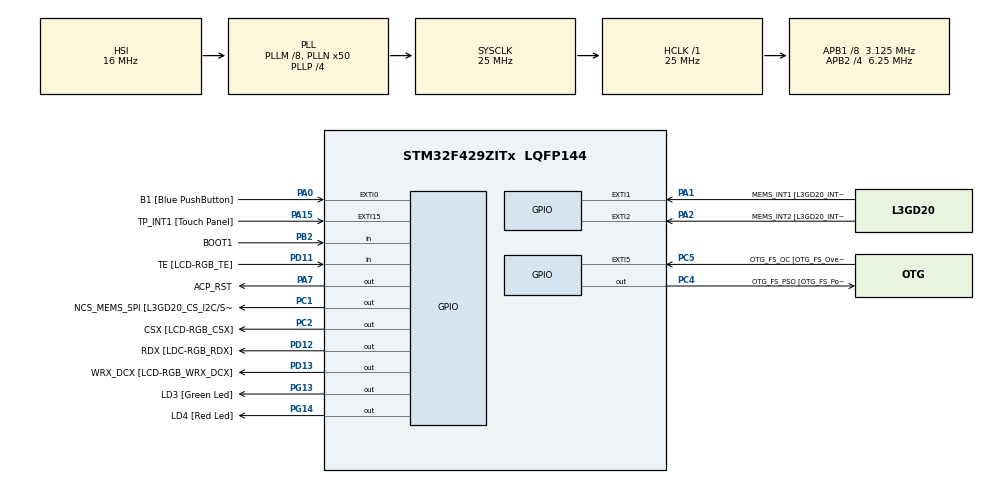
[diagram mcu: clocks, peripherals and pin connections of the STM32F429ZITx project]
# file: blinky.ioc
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Mcu.Family=STM32F4
Mcu.Name=STM32F429ZITx
Mcu.Package=LQFP144
NVIC.EXTI0_IRQn=true\:0\:0\:false\:true\:true\:1\:true\:true\:true
NVIC.PriorityGroup=NVIC_PRIORITYGROUP_0
PA0/WKUP.GPIO_Label=B1 [Blue PushButton]
PA0/WKUP.GPIO_ModeDefaultEXTI=GPIO_MODE_IT_FALLING
PA0/WKUP.GPIO_PuPd=GPIO_NOPULL
PA0/WKUP.Signal=GPXTI0
PA1.GPIO_Label=MEMS_INT1 [L3GD20_INT1]
PA1.GPIO_ModeDefaultEXTI=GPIO_MODE_EVT_RISING
PA1.GPIO_PuPd=GPIO_NOPULL
PA1.Signal=GPXTI1
PA10.GPIO_Label=STLINK_TX [STM32F103CBT6_PA2]
PA10.Signal=USART1_RX
PA11.GPIO_Label=R4
PA11.GPIO_Mode=GPIO_MODE_AF_PP
PA11.GPIO_PuPd=GPIO_NOPULL
PA11.GPIO_Speed=GPIO_SPEED_FREQ_LOW
PA11.Signal=LTDC_R4
PA12.GPIO_Label=R5
PA12.GPIO_Mode=GPIO_MODE_AF_PP
PA12.GPIO_PuPd=GPIO_NOPULL
PA12.GPIO_Speed=GPIO_SPEED_FREQ_LOW
PA12.Signal=LTDC_R5
PA13.GPIO_Label=SWDIO
PA13.Signal=SYS_JTMS-SWDIO
PA14.GPIO_Label=SWCLK
PA14.Signal=SYS_JTCK-SWCLK
PA15.GPIO_Label=TP_INT1 [Touch Panel]
PA15.GPIO_ModeDefaultEXTI=GPIO_MODE_EVT_RISING
PA15.GPIO_PuPd=GPIO_NOPULL
PA15.Signal=GPXTI15
PA2.GPIO_Label=MEMS_INT2 [L3GD20_INT2]
PA2.GPIO_ModeDefaultEXTI=GPIO_MODE_EVT_RISING
PA2.GPIO_PuPd=GPIO_NOPULL
PA2.Signal=GPXTI2
PA3.GPIO_Label=B5
PA3.GPIO_Mode=GPIO_MODE_AF_PP
PA3.GPIO_PuPd=GPIO_NOPULL
PA3.GPIO_Speed=GPIO_SPEED_FREQ_LOW
PA3.Signal=LTDC_B5
PA4.GPIO_Label=VSYNC
PA4.GPIO_Mode=GPIO_MODE_AF_PP
PA4.GPIO_PuPd=GPIO_NOPULL
PA4.GPIO_Speed=GPIO_SPEED_FREQ_LOW
PA4.Signal=LTDC_VSYNC
PA6.GPIO_Label=G2
PA6.GPIO_Mode=GPIO_MODE_AF_PP
PA6.GPIO_PuPd=GPIO_NOPULL
PA6.GPIO_Speed=GPIO_SPEED_FREQ_LOW
PA6.Signal=LTDC_G2
PA7.GPIO_Label=ACP_RST
PA7.GPIO_Mode=GPIO_MODE_OUTPUT_PP
PA7.GPIO_PuPd=GPIO_NOPULL
PA7.GPIO_Speed=GPIO_SPEED_FREQ_LOW
PA7.Signal=GPIO_Output
PA8.GPIO_Label=I2C3_SCL [ACP/RF_SCL]
PA8.GPIO_Mode=GPIO_MODE_AF_OD
PA8.GPIO_PuPd=GPIO_NOPULL
PA8.GPIO_Speed=GPIO_SPEED_FREQ_LOW
PA8.Signal=I2C3_SCL
PA9.GPIO_Label=STLINK_RX [STM32F103CBT6_PA3]
PA9.Signal=USART1_TX
PB0.GPIO_Label=R3
PB0.GPIO_Mode=GPIO_MODE_AF_PP
PB0.GPIO_PuPd=GPIO_NOPULL
PB0.GPIO_Speed=GPIO_SPEED_FREQ_LOW
PB0.Signal=LTDC_R3
PB1.GPIO_Label=R6
PB1.GPIO_Mode=GPIO_MODE_AF_PP
PB1.GPIO_PuPd=GPIO_NOPULL
PB1.GPIO_Speed=GPIO_SPEED_FREQ_LOW
PB1.Signal=LTDC_R6
PB10.GPIO_Label=G4
PB10.GPIO_Mode=GPIO_MODE_AF_PP
PB10.GPIO_PuPd=GPIO_NOPULL
PB10.GPIO_Speed=GPIO_SPEED_FREQ_LOW
PB10.Signal=LTDC_G4
PB11.GPIO_Label=G5
PB11.GPIO_Mode=GPIO_MODE_AF_PP
PB11.GPIO_PuPd=GPIO_NOPULL
PB11.GPIO_Speed=GPIO_SPEED_FREQ_LOW
PB11.Signal=LTDC_G5
PB12.GPIO_Label=OTG_HS_ID
PB12.GPIO_Mode=GPIO_MODE_AF_PP
PB12.GPIO_PuPd=GPIO_NOPULL
PB12.GPIO_Speed=GPIO_SPEED_FREQ_LOW
PB12.Signal=USB_OTG_HS_ID
PB13.GPIO_Label=VBUS_HS
PB13.GPIO_Mode=GPIO_MODE_INPUT
PB13.GPIO_PuPd=GPIO_NOPULL
PB13.Signal=USB_OTG_HS_VBUS
PB14.GPIO_Label=OTG_HS_DM
PB14.GPIO_Mode=GPIO_MODE_AF_PP
PB14.GPIO_PuPd=GPIO_NOPULL
PB14.GPIO_Speed=GPIO_SPEED_FREQ_LOW
PB14.Signal=USB_OTG_HS_DM
PB15.GPIO_Label=OTG_HS_DP
PB15.GPIO_Mode=GPIO_MODE_AF_PP
PB15.GPIO_PuPd=GPIO_NOPULL
PB15.GPIO_Speed=GPIO_SPEED_FREQ_LOW
PB15.Signal=USB_OTG_HS_DP
PB2/BOOT1.GPIO_Label=BOOT1
PB2/BOOT1.GPIO_Mode=GPIO_MODE_INPUT
PB2/BOOT1.GPIO_PuPd=GPIO_NOPULL
PB2/BOOT1.Signal=GPIO_Input
PB5.GPIO_Label=SDCKE1
PB5.GPIO_Mode=GPIO_MODE_AF_PP
PB5.GPIO_PuPd=GPIO_NOPULL
PB5.GPIO_Speed=GPIO_SPEED_FREQ_VERY_HIGH
PB5.Signal=FMC_SDCKE1
PB6.GPIO_Label=SDNE1 [SDRAM_CS]
PB6.GPIO_Mode=GPIO_MODE_AF_PP
PB6.GPIO_PuPd=GPIO_NOPULL
PB6.GPIO_Speed=GPIO_SPEED_FREQ_VERY_HIGH
PB6.Signal=FMC_SDNE1
PB8.GPIO_Label=B6
PB8.GPIO_Mode=GPIO_MODE_AF_PP
PB8.GPIO_PuPd=GPIO_NOPULL
PB8.GPIO_Speed=GPIO_SPEED_FREQ_LOW
PB8.Signal=LTDC_B6
PB9.GPIO_Label=B7
PB9.GPIO_Mode=GPIO_MODE_AF_PP
PB9.GPIO_PuPd=GPIO_NOPULL
PB9.GPIO_Speed=GPIO_SPEED_FREQ_LOW
PB9.Signal=LTDC_B7
PC0.GPIO_Label=SDNWE
PC0.GPIO_Mode=GPIO_MODE_AF_PP
PC0.GPIO_PuPd=GPIO_NOPULL
PC0.GPIO_Speed=GPIO_SPEED_FREQ_VERY_HIGH
PC0.Signal=FMC_SDNWE
PC1.GPIO_Label=NCS_MEMS_SPI [L3GD20_CS_I2C/SPI]
PC1.GPIO_Mode=GPIO_MODE_OUTPUT_PP
PC1.GPIO_PuPd=GPIO_NOPULL
PC1.GPIO_Speed=GPIO_SPEED_FREQ_LOW
PC1.Signal=GPIO_Output
PC10.GPIO_Label=R2
PC10.GPIO_Mode=GPIO_MODE_AF_PP
PC10.GPIO_PuPd=GPIO_NOPULL
PC10.GPIO_Speed=GPIO_SPEED_FREQ_LOW
PC10.Signal=LTDC_R2
PC14/OSC32_IN.GPIO_Label=PC14-OSC32_IN
PC14/OSC32_IN.Signal=RCC_OSC32_IN
PC15/OSC32_OUT.GPIO_Label=PC15-OSC32_OUT
PC15/OSC32_OUT.Signal=RCC_OSC32_OUT
PC2.GPIO_Label=CSX [LCD-RGB_CSX]
PC2.GPIO_Mode=GPIO_MODE_OUTPUT_PP
PC2.GPIO_PuPd=GPIO_NOPULL
PC2.GPIO_Speed=GPIO_SPEED_FREQ_LOW
PC2.Signal=GPIO_Output
PC4.GPIO_Label=OTG_FS_PSO [OTG_FS_PowerSwitchOn]
PC4.GPIO_Mode=GPIO_MODE_OUTPUT_PP
PC4.GPIO_PuPd=GPIO_NOPULL
PC4.GPIO_Speed=GPIO_SPEED_FREQ_LOW
PC4.Signal=GPIO_Output
PC5.GPIO_Label=OTG_FS_OC [OTG_FS_OverCurrent]
PC5.GPIO_ModeDefaultEXTI=GPIO_MODE_EVT_RISING
PC5.Signal=GPXTI5
PC6.GPIO_Label=HSYNC
PC6.GPIO_Mode=GPIO_MODE_AF_PP
PC6.GPIO_PuPd=GPIO_NOPULL
PC6.GPIO_Speed=GPIO_SPEED_FREQ_LOW
PC6.Signal=LTDC_HSYNC
PC7.GPIO_Label=G6
PC7.GPIO_Mode=GPIO_MODE_AF_PP
PC7.GPIO_PuPd=GPIO_NOPULL
PC7.GPIO_Speed=GPIO_SPEED_FREQ_LOW
PC7.Signal=LTDC_G6
PC9.GPIO_Label=I2C3_SDA [ACP/RF_SDA]
PC9.GPIO_Mode=GPIO_MODE_AF_OD
PC9.GPIO_PuPd=GPIO_NOPULL
PC9.GPIO_Speed=GPIO_SPEED_FREQ_LOW
PC9.Signal=I2C3_SDA
PD0.GPIO_Label=D2
PD0.GPIO_Mode=GPIO_MODE_AF_PP
PD0.GPIO_PuPd=GPIO_NOPULL
PD0.GPIO_Speed=GPIO_SPEED_FREQ_VERY_HIGH
PD0.Signal=FMC_D2_DA2
PD1.GPIO_Label=D3
PD1.GPIO_Mode=GPIO_MODE_AF_PP
PD1.GPIO_PuPd=GPIO_NOPULL
PD1.GPIO_Speed=GPIO_SPEED_FREQ_VERY_HIGH
PD1.Signal=FMC_D3_DA3
PD10.GPIO_Label=D15
PD10.GPIO_Mode=GPIO_MODE_AF_PP
PD10.GPIO_PuPd=GPIO_NOPULL
PD10.GPIO_Speed=GPIO_SPEED_FREQ_VERY_HIGH
PD10.Signal=FMC_D15_DA15
PD11.GPIO_Label=TE [LCD-RGB_TE]
PD11.GPIO_Mode=GPIO_MODE_INPUT
PD11.GPIO_PuPd=GPIO_NOPULL
PD11.Signal=GPIO_Input
PD12.GPIO_Label=RDX [LDC-RGB_RDX]
PD12.GPIO_Mode=GPIO_MODE_OUTPUT_PP
PD12.GPIO_PuPd=GPIO_NOPULL
PD12.GPIO_Speed=GPIO_SPEED_FREQ_LOW
PD12.Signal=GPIO_Output
PD13.GPIO_Label=WRX_DCX [LCD-RGB_WRX_DCX]
PD13.GPIO_Mode=GPIO_MODE_OUTPUT_PP
PD13.GPIO_PuPd=GPIO_NOPULL
PD13.GPIO_Speed=GPIO_SPEED_FREQ_LOW
PD13.Signal=GPIO_Output
PD14.GPIO_Label=D0
PD14.GPIO_Mode=GPIO_MODE_AF_PP
PD14.GPIO_PuPd=GPIO_NOPULL
PD14.GPIO_Speed=GPIO_SPEED_FREQ_VERY_HIGH
PD14.Signal=FMC_D0_DA0
PD15.GPIO_Label=D1
PD15.GPIO_Mode=GPIO_MODE_AF_PP
PD15.GPIO_PuPd=GPIO_NOPULL
PD15.GPIO_Speed=GPIO_SPEED_FREQ_VERY_HIGH
PD15.Signal=FMC_D1_DA1
PD3.GPIO_Label=G7
PD3.GPIO_Mode=GPIO_MODE_AF_PP
PD3.GPIO_PuPd=GPIO_NOPULL
PD3.GPIO_Speed=GPIO_SPEED_FREQ_LOW
PD3.Signal=LTDC_G7
PD6.GPIO_Label=B2
PD6.GPIO_Mode=GPIO_MODE_AF_PP
PD6.GPIO_PuPd=GPIO_NOPULL
PD6.GPIO_Speed=GPIO_SPEED_FREQ_LOW
PD6.Signal=LTDC_B2
PD8.GPIO_Label=D13
PD8.GPIO_Mode=GPIO_MODE_AF_PP
PD8.GPIO_PuPd=GPIO_NOPULL
PD8.GPIO_Speed=GPIO_SPEED_FREQ_VERY_HIGH
PD8.Signal=FMC_D13_DA13
PD9.GPIO_Label=D14
PD9.GPIO_Mode=GPIO_MODE_AF_PP
PD9.GPIO_PuPd=GPIO_NOPULL
PD9.GPIO_Speed=GPIO_SPEED_FREQ_VERY_HIGH
PD9.Signal=FMC_D14_DA14
PE0.GPIO_Label=NBL0 [SDRAM_LDQM]
PE0.GPIO_Mode=GPIO_MODE_AF_PP
PE0.GPIO_PuPd=GPIO_NOPULL
PE0.GPIO_Speed=GPIO_SPEED_FREQ_VERY_HIGH
PE0.Signal=FMC_NBL0
PE1.GPIO_Label=NBL1 [SDRAM_UDQM]
PE1.GPIO_Mode=GPIO_MODE_AF_PP
PE1.GPIO_PuPd=GPIO_NOPULL
PE1.GPIO_Speed=GPIO_SPEED_FREQ_VERY_HIGH
PE1.Signal=FMC_NBL1
PE10.GPIO_Label=D7
PE10.GPIO_Mode=GPIO_MODE_AF_PP
PE10.GPIO_PuPd=GPIO_NOPULL
PE10.GPIO_Speed=GPIO_SPEED_FREQ_VERY_HIGH
PE10.Signal=FMC_D7_DA7
PE11.GPIO_Label=D8
PE11.GPIO_Mode=GPIO_MODE_AF_PP
PE11.GPIO_PuPd=GPIO_NOPULL
PE11.GPIO_Speed=GPIO_SPEED_FREQ_VERY_HIGH
PE11.Signal=FMC_D8_DA8
PE12.GPIO_Label=D9
PE12.GPIO_Mode=GPIO_MODE_AF_PP
PE12.GPIO_PuPd=GPIO_NOPULL
PE12.GPIO_Speed=GPIO_SPEED_FREQ_VERY_HIGH
PE12.Signal=FMC_D9_DA9
PE13.GPIO_Label=D10
PE13.GPIO_Mode=GPIO_MODE_AF_PP
PE13.GPIO_PuPd=GPIO_NOPULL
PE13.GPIO_Speed=GPIO_SPEED_FREQ_VERY_HIGH
PE13.Signal=FMC_D10_DA10
PE14.GPIO_Label=D11
PE14.GPIO_Mode=GPIO_MODE_AF_PP
PE14.GPIO_PuPd=GPIO_NOPULL
PE14.GPIO_Speed=GPIO_SPEED_FREQ_VERY_HIGH
PE14.Signal=FMC_D11_DA11
PE15.GPIO_Label=D12
PE15.GPIO_Mode=GPIO_MODE_AF_PP
PE15.GPIO_PuPd=GPIO_NOPULL
PE15.GPIO_Speed=GPIO_SPEED_FREQ_VERY_HIGH
PE15.Signal=FMC_D12_DA12
PE7.GPIO_Label=D4
PE7.GPIO_Mode=GPIO_MODE_AF_PP
PE7.GPIO_PuPd=GPIO_NOPULL
PE7.GPIO_Speed=GPIO_SPEED_FREQ_VERY_HIGH
PE7.Signal=FMC_D4_DA4
PE8.GPIO_Label=D5
PE8.GPIO_Mode=GPIO_MODE_AF_PP
PE8.GPIO_PuPd=GPIO_NOPULL
PE8.GPIO_Speed=GPIO_SPEED_FREQ_VERY_HIGH
PE8.Signal=FMC_D5_DA5
PE9.GPIO_Label=D6
PE9.GPIO_Mode=GPIO_MODE_AF_PP
PE9.GPIO_PuPd=GPIO_NOPULL
PE9.GPIO_Speed=GPIO_SPEED_FREQ_VERY_HIGH
PE9.Signal=FMC_D6_DA6
PF0.GPIO_Label=A0
PF0.GPIO_Mode=GPIO_MODE_AF_PP
PF0.GPIO_PuPd=GPIO_NOPULL
PF0.GPIO_Speed=GPIO_SPEED_FREQ_VERY_HIGH
PF0.Signal=FMC_A0
PF1.GPIO_Label=A1
PF1.GPIO_Mode=GPIO_MODE_AF_PP
PF1.GPIO_PuPd=GPIO_NOPULL
PF1.GPIO_Speed=GPIO_SPEED_FREQ_VERY_HIGH
PF1.Signal=FMC_A1
PF10.GPIO_Label=ENABLE [LCD-RGB_ENABLE]
PF10.GPIO_Mode=GPIO_MODE_AF_PP
PF10.GPIO_PuPd=GPIO_NOPULL
PF10.GPIO_Speed=GPIO_SPEED_FREQ_LOW
PF10.Signal=LTDC_DE
PF11.GPIO_Label=SDNRAS
PF11.GPIO_Mode=GPIO_MODE_AF_PP
PF11.GPIO_PuPd=GPIO_NOPULL
PF11.GPIO_Speed=GPIO_SPEED_FREQ_VERY_HIGH
PF11.Signal=FMC_SDNRAS
PF12.GPIO_Label=A6
PF12.GPIO_Mode=GPIO_MODE_AF_PP
PF12.GPIO_PuPd=GPIO_NOPULL
PF12.GPIO_Speed=GPIO_SPEED_FREQ_VERY_HIGH
PF12.Signal=FMC_A6
PF13.GPIO_Label=A7
PF13.GPIO_Mode=GPIO_MODE_AF_PP
PF13.GPIO_PuPd=GPIO_NOPULL
PF13.GPIO_Speed=GPIO_SPEED_FREQ_VERY_HIGH
PF13.Signal=FMC_A7
PF14.GPIO_Label=A8
PF14.GPIO_Mode=GPIO_MODE_AF_PP
PF14.GPIO_PuPd=GPIO_NOPULL
PF14.GPIO_Speed=GPIO_SPEED_FREQ_VERY_HIGH
PF14.Signal=FMC_A8
PF15.GPIO_Label=A9
PF15.GPIO_Mode=GPIO_MODE_AF_PP
PF15.GPIO_PuPd=GPIO_NOPULL
PF15.GPIO_Speed=GPIO_SPEED_FREQ_VERY_HIGH
PF15.Signal=FMC_A9
PF2.GPIO_Label=A2
PF2.GPIO_Mode=GPIO_MODE_AF_PP
PF2.GPIO_PuPd=GPIO_NOPULL
PF2.GPIO_Speed=GPIO_SPEED_FREQ_VERY_HIGH
PF2.Signal=FMC_A2
PF3.GPIO_Label=A3
PF3.GPIO_Mode=GPIO_MODE_AF_PP
PF3.GPIO_PuPd=GPIO_NOPULL
PF3.GPIO_Speed=GPIO_SPEED_FREQ_VERY_HIGH
PF3.Signal=FMC_A3
PF4.GPIO_Label=A4
PF4.GPIO_Mode=GPIO_MODE_AF_PP
PF4.GPIO_PuPd=GPIO_NOPULL
PF4.GPIO_Speed=GPIO_SPEED_FREQ_VERY_HIGH
PF4.Signal=FMC_A4
PF5.GPIO_Label=A5
PF5.GPIO_Mode=GPIO_MODE_AF_PP
PF5.GPIO_PuPd=GPIO_NOPULL
PF5.GPIO_Speed=GPIO_SPEED_FREQ_VERY_HIGH
PF5.Signal=FMC_A5
PF7.GPIO_Label=SPI5_SCK [L3GD20_SCL/SPC]
PF7.GPIO_Mode=GPIO_MODE_AF_PP
PF7.GPIO_PuPd=GPIO_NOPULL
PF7.GPIO_Speed=GPIO_SPEED_FREQ_LOW
PF7.Signal=SPI5_SCK
PF8.GPIO_Label=SPI5_MISO [L3GD20_SDO]
PF8.GPIO_Mode=GPIO_MODE_AF_PP
PF8.GPIO_PuPd=GPIO_NOPULL
PF8.GPIO_Speed=GPIO_SPEED_FREQ_LOW
PF8.Signal=SPI5_MISO
PF9.GPIO_Label=SPI5_MOSI [L3GD20_SDA/SDI/SDO]
PF9.GPIO_Mode=GPIO_MODE_AF_PP
PF9.GPIO_PuPd=GPIO_NOPULL
PF9.GPIO_Speed=GPIO_SPEED_FREQ_LOW
PF9.Signal=SPI5_MOSI
PG0.GPIO_Label=A10
PG0.GPIO_Mode=GPIO_MODE_AF_PP
PG0.GPIO_PuPd=GPIO_NOPULL
PG0.GPIO_Speed=GPIO_SPEED_FREQ_VERY_HIGH
PG0.Signal=FMC_A10
PG1.GPIO_Label=A11
PG1.GPIO_Mode=GPIO_MODE_AF_PP
PG1.GPIO_PuPd=GPIO_NOPULL
PG1.GPIO_Speed=GPIO_SPEED_FREQ_VERY_HIGH
PG1.Signal=FMC_A11
PG10.GPIO_Label=G3
PG10.GPIO_Mode=GPIO_MODE_AF_PP
PG10.GPIO_PuPd=GPIO_NOPULL
PG10.GPIO_Speed=GPIO_SPEED_FREQ_LOW
PG10.Signal=LTDC_G3
PG11.GPIO_Label=B3
PG11.GPIO_Mode=GPIO_MODE_AF_PP
PG11.GPIO_PuPd=GPIO_NOPULL
PG11.GPIO_Speed=GPIO_SPEED_FREQ_LOW
PG11.Signal=LTDC_B3
PG12.GPIO_Label=B4
PG12.GPIO_Mode=GPIO_MODE_AF_PP
PG12.GPIO_PuPd=GPIO_NOPULL
PG12.GPIO_Speed=GPIO_SPEED_FREQ_LOW
PG12.Signal=LTDC_B4
PG13.GPIO_Label=LD3 [Green Led]
PG13.GPIO_Mode=GPIO_MODE_OUTPUT_PP
PG13.GPIO_PuPd=GPIO_NOPULL
PG13.GPIO_Speed=GPIO_SPEED_FREQ_LOW
PG13.Signal=GPIO_Output
PG14.GPIO_Label=LD4 [Red Led]
PG14.GPIO_Mode=GPIO_MODE_OUTPUT_PP
PG14.GPIO_PuPd=GPIO_NOPULL
PG14.GPIO_Speed=GPIO_SPEED_FREQ_LOW
PG14.Signal=GPIO_Output
PG15.GPIO_Label=SDNCAS
PG15.GPIO_Mode=GPIO_MODE_AF_PP
PG15.GPIO_PuPd=GPIO_NOPULL
PG15.GPIO_Speed=GPIO_SPEED_FREQ_VERY_HIGH
PG15.Signal=FMC_SDNCAS
PG4.GPIO_Label=BA0
PG4.GPIO_Mode=GPIO_MODE_AF_PP
PG4.GPIO_PuPd=GPIO_NOPULL
PG4.GPIO_Speed=GPIO_SPEED_FREQ_VERY_HIGH
PG4.Signal=FMC_A14_BA0
PG5.GPIO_Label=BA1
PG5.GPIO_Mode=GPIO_MODE_AF_PP
PG5.GPIO_PuPd=GPIO_NOPULL
PG5.GPIO_Speed=GPIO_SPEED_FREQ_VERY_HIGH
PG5.Signal=FMC_A15_BA1
PG6.GPIO_Label=R7
PG6.GPIO_Mode=GPIO_MODE_AF_PP
PG6.GPIO_PuPd=GPIO_NOPULL
PG6.GPIO_Speed=GPIO_SPEED_FREQ_LOW
PG6.Signal=LTDC_R7
PG7.GPIO_Label=DOTCLK [LCT-RGB_DOTCLK]
PG7.GPIO_Mode=GPIO_MODE_AF_PP
PG7.GPIO_PuPd=GPIO_NOPULL
PG7.GPIO_Speed=GPIO_SPEED_FREQ_LOW
PG7.Signal=LTDC_CLK
PG8.GPIO_Label=SDCLK
PG8.GPIO_Mode=GPIO_MODE_AF_PP
PG8.GPIO_PuPd=GPIO_NOPULL
PG8.GPIO_Speed=GPIO_SPEED_FREQ_VERY_HIGH
PG8.Signal=FMC_SDCLK
PH0/OSC_IN.GPIO_Label=PH0-OSC_IN
PH0/OSC_IN.Signal=RCC_OSC_IN
PH1/OSC_OUT.GPIO_Label=PH1-OSC_OUT
PH1/OSC_OUT.Signal=RCC_OSC_OUT
ProjectManager.HeapSize=0x200
ProjectManager.StackSize=0x400
ProjectManager.TargetToolchain=STM32CubeIDE
RCC.48MHZClocksFreq_Value=14285714.285714285
RCC.AHBFreq_Value=25000000
RCC.APB1CLKDivider=RCC_HCLK_DIV8
RCC.APB1Freq_Value=3125000
RCC.APB1TimFreq_Value=6250000
RCC.APB2CLKDivider=RCC_HCLK_DIV4
RCC.APB2Freq_Value=6250000
RCC.APB2TimFreq_Value=12500000
RCC.CortexFreq_Value=25000000
RCC.HCLKFreq_Value=25000000
RCC.HSE_VALUE=8000000
RCC.HSI_VALUE=16000000
RCC.LSE_VALUE=32768
RCC.PLLM=8
RCC.PLLN=50
RCC.PLLP=RCC_PLLP_DIV4
RCC.PLLQ=7
RCC.SYSCLKFreq_VALUE=25000000
RCC.SYSCLKSource=RCC_SYSCLKSOURCE_PLLCLK
RCC.VCOOutputFreq_Value=100000000
SH.FMC_A0.0=FMC_A0
SH.FMC_A1.0=FMC_A1
SH.FMC_A10.0=FMC_A10
SH.FMC_A11.0=FMC_A11
SH.FMC_A14_BA0.0=FMC_BA0
SH.FMC_A15_BA1.0=FMC_BA1
SH.FMC_A2.0=FMC_A2
SH.FMC_A3.0=FMC_A3
SH.FMC_A4.0=FMC_A4
SH.FMC_A5.0=FMC_A5
SH.FMC_A6.0=FMC_A6
SH.FMC_A7.0=FMC_A7
SH.FMC_A8.0=FMC_A8
SH.FMC_A9.0=FMC_A9
SH.FMC_D0_DA0.0=FMC_D0
SH.FMC_D10_DA10.0=FMC_D10
SH.FMC_D11_DA11.0=FMC_D11
SH.FMC_D12_DA12.0=FMC_D12
SH.FMC_D13_DA13.0=FMC_D13
SH.FMC_D14_DA14.0=FMC_D14
SH.FMC_D15_DA15.0=FMC_D15
SH.FMC_D1_DA1.0=FMC_D1
SH.FMC_D2_DA2.0=FMC_D2
SH.FMC_D3_DA3.0=FMC_D3
SH.FMC_D4_DA4.0=FMC_D4
SH.FMC_D5_DA5.0=FMC_D5
SH.FMC_D6_DA6.0=FMC_D6
SH.FMC_D7_DA7.0=FMC_D7
SH.FMC_D8_DA8.0=FMC_D8
SH.FMC_D9_DA9.0=FMC_D9
SH.FMC_NBL0.0=FMC_NBL0
SH.FMC_NBL1.0=FMC_NBL1
SH.FMC_SDCLK.0=FMC_SDCLK
SH.FMC_SDNCAS.0=FMC_SDNCAS
SH.FMC_SDNRAS.0=FMC_SDNRAS
SH.FMC_SDNWE.0=FMC_SDNWE
board=STM32F429I-DISC1

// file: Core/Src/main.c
/* USER CODE BEGIN Header */
/**
  ******************************************************************************
  * @file           : main.c
  * @brief          : Main program body
  ******************************************************************************
  * @attention
  *
  * Copyright (c) 2022 STMicroelectronics.
  * All rights reserved.
  *
  * This software is licensed under terms that can be found in the LICENSE file
  * in the root directory of this software component.
  * If no LICENSE file comes with this software, it is provided AS-IS.
  *
  ******************************************************************************
  */
/* USER CODE END Header */
#include "main.h"
#include "gpio.h"

/* USER CODE BEGIN Includes */
#include <stdbool.h>
#include "debounce.h"
/* USER CODE END Includes */

/* USER CODE BEGIN PV */
static uint8_t debounceBuffer = 0;
static volatile bool gBlinkyActive = false;
/* USER CODE END PV */

void SystemClock_Config(void);
static void MX_NVIC_Init(void);

int main(void)
{

  /* MCU Configuration--------------------------------------------------------*/

  /* Reset of all peripherals, Initializes the Flash interface and the Systick. */
  HAL_Init();

  /* Configure the system clock */
  SystemClock_Config();

  /* Initialize all configured peripherals */
  MX_GPIO_Init();

  /* Initialize interrupts */
  MX_NVIC_Init();

  /* Infinite loop */
  while (1)
  {

    /* USER CODE BEGIN 3 */
	if (gBlinkyActive) {
		HAL_GPIO_TogglePin(LD3_GPIO_Port, LD3_Pin);
		HAL_Delay(100);
	}

	volatile uint32_t led_value =  ((*(uint32_t *)0x40021814UL) & 0x2000) >> 13;
	volatile uint32_t button_value = ((*(uint32_t *)0x40020010UL) & 0x0001) >> 0;

	// Since I use an interrupt to add button presses to the history, I also need to add zeros
	//
	update_button(&debounceBuffer, 0);
  }
  /* USER CODE END 3 */
}

void SystemClock_Config(void)
{
  RCC_OscInitTypeDef RCC_OscInitStruct = {0};
  RCC_ClkInitTypeDef RCC_ClkInitStruct = {0};

  /** Configure the main internal regulator output voltage
  */
  __HAL_RCC_PWR_CLK_ENABLE();
  __HAL_PWR_VOLTAGESCALING_CONFIG(PWR_REGULATOR_VOLTAGE_SCALE3);

  /** Initializes the RCC Oscillators according to the specified parameters
  * in the RCC_OscInitTypeDef structure.
  */
  RCC_OscInitStruct.OscillatorType = RCC_OSCILLATORTYPE_HSI;
  RCC_OscInitStruct.HSIState = RCC_HSI_ON;
  RCC_OscInitStruct.HSICalibrationValue = RCC_HSICALIBRATION_DEFAULT;
  RCC_OscInitStruct.PLL.PLLState = RCC_PLL_ON;
  RCC_OscInitStruct.PLL.PLLSource = RCC_PLLSOURCE_HSI;
  RCC_OscInitStruct.PLL.PLLM = 8;
  RCC_OscInitStruct.PLL.PLLN = 50;
  RCC_OscInitStruct.PLL.PLLP = RCC_PLLP_DIV4;
  RCC_OscInitStruct.PLL.PLLQ = 7;
  if (HAL_RCC_OscConfig(&RCC_OscInitStruct) != HAL_OK)
  {
    Error_Handler();
  }

  /** Initializes the CPU, AHB and APB buses clocks
  */
  RCC_ClkInitStruct.ClockType = RCC_CLOCKTYPE_HCLK|RCC_CLOCKTYPE_SYSCLK
                              |RCC_CLOCKTYPE_PCLK1|RCC_CLOCKTYPE_PCLK2;
  RCC_ClkInitStruct.SYSCLKSource = RCC_SYSCLKSOURCE_PLLCLK;
  RCC_ClkInitStruct.AHBCLKDivider = RCC_SYSCLK_DIV1;
  RCC_ClkInitStruct.APB1CLKDivider = RCC_HCLK_DIV8;
  RCC_ClkInitStruct.APB2CLKDivider = RCC_HCLK_DIV4;

  if (HAL_RCC_ClockConfig(&RCC_ClkInitStruct, FLASH_LATENCY_0) != HAL_OK)
  {
    Error_Handler();
  }
}

/**
  * @brief NVIC Configuration.
  * @retval None
  */
static void MX_NVIC_Init(void)
{
  /* EXTI0_IRQn interrupt configuration */
  HAL_NVIC_SetPriority(EXTI0_IRQn, 0, 0);
  HAL_NVIC_EnableIRQ(EXTI0_IRQn);
}

/* USER CODE BEGIN 4 */

void HAL_GPIO_EXTI_Callback( uint16_t GPIO_Pin )
{
	if(GPIO_Pin == B1_Pin){

//		GPIO_PinState state = HAL_GPIO_ReadPin(B1_GPIO_Port, B1_Pin);

		// Since I artificially debounce the button, I need to set it to an on state the debounce algorithm "understands"
		// This kind of defeats the purpose but the interrupt is working really well and the button is electronically debounced
		//
		uint8_t state = 0b00000111;

		update_button(&debounceBuffer, state);

		if(is_button_pressed(&debounceBuffer))
		{
			gBlinkyActive = !gBlinkyActive;
		}

	}
	else{
		//Do not do anything when else.
		__NOP();
	}
}
/* USER CODE END 4 */

void Error_Handler(void)
{
  __disable_irq();
  while (1)
  {
  }
}
